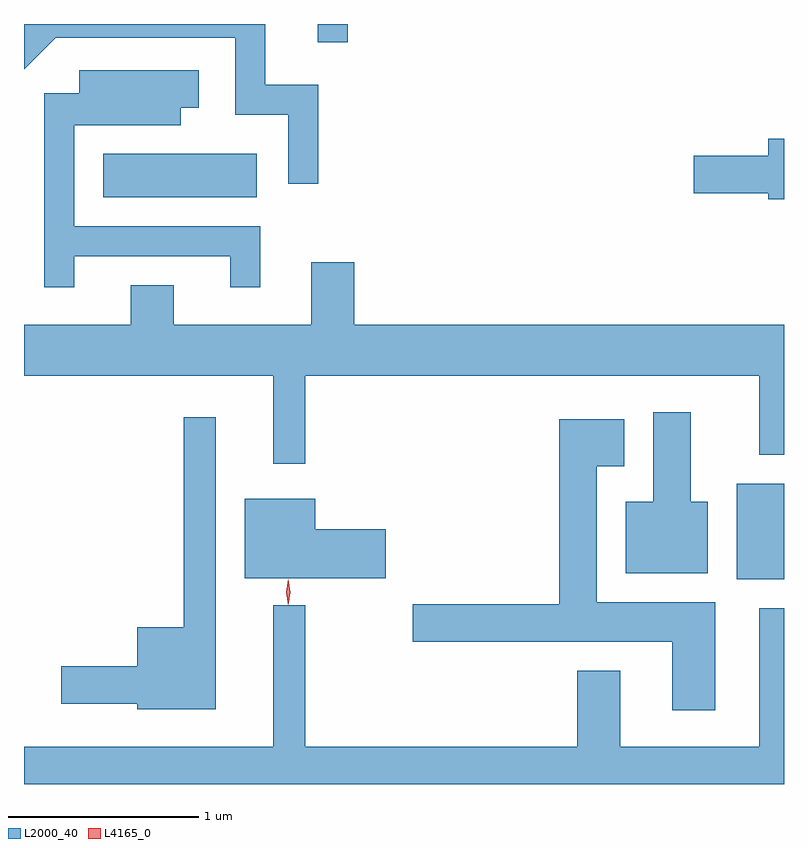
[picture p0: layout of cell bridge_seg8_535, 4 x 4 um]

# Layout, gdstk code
import gdstk
lib = gdstk.Library(unit=1e-6, precision=1e-09)
def R(c, l, rs):  # rectangles x0, y0, x1, y1
    for r in rs: c.add(gdstk.rectangle(r[:2], r[2:], *l))
def P(c, l, *ps):  # polygons
    for p in ps: c.add(gdstk.Polygon(p, *l))
L2000_40 = (2000, 40)
L4165_0 = (4165, 0)

bridge_seg8_535 = lib.new_cell('bridge_seg8_535')
R(bridge_seg8_535, L2000_40, [(565.881,1870.866,566.13,1871.369), (562.546,1872.876,563.354,1873.104), (563.676,1873.693,563.834,1873.788)])
P(bridge_seg8_535, L2000_40, [(563.679,1873.469),(563.399,1873.469),(563.399,1873.788),(562.13,1873.788),(562.13,1873.55),(562.297,1873.716),(563.241,1873.716),(563.241,1873.311),(563.521,1873.311),(563.521,1872.948),(563.679,1872.948)],
  [(562.394,1872.566),(563.216,1872.566),(563.216,1872.403),(563.374,1872.403),(563.374,1872.724),(562.394,1872.724),(562.394,1873.256),(562.954,1873.256),(562.954,1873.346),(563.049,1873.346),(563.049,1873.544),(562.421,1873.544),(562.421,1873.424),(562.236,1873.424),(562.236,1872.403),(562.394,1872.403)],
  [(566.13,1873.184),(566.046,1873.184),(566.046,1873.094),(565.656,1873.094),(565.656,1872.896),(566.046,1872.896),(566.046,1872.866),(566.13,1872.866)],
  [(563.609,1871.936),(566.001,1871.936),(566.001,1871.521),(566.13,1871.521),(566.13,1872.204),(563.869,1872.204),(563.869,1872.534),(563.641,1872.534),(563.641,1872.204),(562.919,1872.204),(562.919,1872.414),(562.691,1872.414),(562.691,1872.204),(562.13,1872.204),(562.13,1871.936),(563.441,1871.936),(563.441,1871.473),(563.609,1871.473)],
  [(565.729,1871.274),(565.639,1871.274),(565.639,1871.744),(565.441,1871.744),(565.441,1871.274),(565.296,1871.274),(565.296,1870.896),(565.729,1870.896)],
  [(563.139,1871.718),(562.971,1871.718),(562.971,1870.614),(562.726,1870.614),(562.726,1870.409),(562.326,1870.409),(562.326,1870.211),(562.726,1870.211),(562.726,1870.181),(563.139,1870.181)],
  [(565.769,1870.744),(565.144,1870.744),(565.144,1871.461),(565.289,1871.461),(565.289,1871.709),(564.946,1871.709),(564.946,1870.734),(564.176,1870.734),(564.176,1870.536),(565.541,1870.536),(565.541,1870.176),(565.769,1870.176)],
  [(564.034,1871.129),(563.664,1871.129),(563.664,1871.289),(563.291,1871.289),(563.291,1870.871),(564.034,1870.871)],
  [(566.13,1870.714),(566.001,1870.714),(566.001,1869.984),(565.269,1869.984),(565.269,1870.384),(565.041,1870.384),(565.041,1869.984),(563.609,1869.984),(563.609,1870.728),(563.441,1870.728),(563.441,1869.984),(562.13,1869.984),(562.13,1869.788),(566.13,1869.788)])
P(bridge_seg8_535, L4165_0, [(563.521,1870.733),(563.511,1870.796),(563.52,1870.859),(563.521,1870.86),(563.521,1870.859),(563.531,1870.796),(563.522,1870.733),(563.522,1870.733)],
  [(563.521,1870.73),(563.511,1870.798),(563.52,1870.866),(563.521,1870.866),(563.521,1870.866),(563.531,1870.798),(563.522,1870.73),(563.522,1870.73)])

lib.write_gds('bridge_seg8_535.gds')
